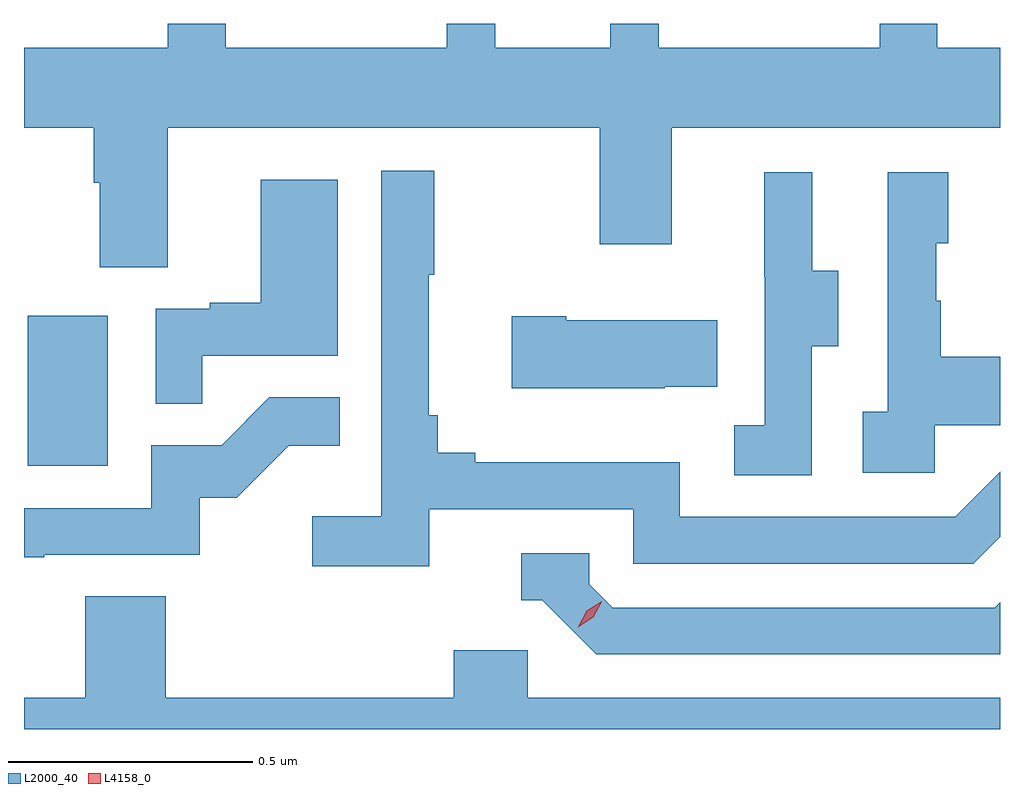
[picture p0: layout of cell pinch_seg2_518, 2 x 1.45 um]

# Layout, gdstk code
import gdstk
lib = gdstk.Library(unit=1e-6, precision=1e-09)
def R(c, l, rs):  # rectangles x0, y0, x1, y1
    for r in rs: c.add(gdstk.rectangle(r[:2], r[2:], *l))
def P(c, l, *ps):  # polygons
    for p in ps: c.add(gdstk.Polygon(p, *l))
L2000_40 = (2000, 40)
L4158_0 = (4158, 0)

pinch_seg2_518 = lib.new_cell('pinch_seg2_518')
R(pinch_seg2_518, L2000_40, [(1009.142,584.34,1009.306,584.647)])
P(pinch_seg2_518, L2000_40, [(1009.134,585.032),(1009.277,585.032),(1009.277,584.92),(1009.289,584.92),(1009.289,584.746),(1009.429,584.746),(1009.429,585.032),(1010.314,585.032),(1010.314,584.793),(1010.461,584.793),(1010.461,585.032),(1011.134,585.032),(1011.134,585.196),(1011.005,585.196),(1011.005,585.245),(1010.888,585.245),(1010.888,585.196),(1010.435,585.196),(1010.435,585.245),(1010.335,585.245),(1010.335,585.196),(1010.1,585.196),(1010.1,585.245),(1010,585.245),(1010,585.196),(1009.547,585.196),(1009.547,585.245),(1009.429,585.245),(1009.429,585.196),(1009.134,585.196)],
  [(1009.964,584.25),(1010.382,584.25),(1010.382,584.139),(1011.079,584.139),(1011.134,584.194),(1011.134,584.327),(1011.042,584.235),(1010.478,584.235),(1010.478,584.347),(1010.059,584.347),(1010.059,584.366),(1009.982,584.366),(1009.982,584.443),(1009.963,584.443),(1009.963,584.731),(1009.975,584.731),(1009.975,584.944),(1009.866,584.944),(1009.866,584.236),(1009.725,584.236),(1009.725,584.134),(1009.964,584.134)],
  [(1011,584.423),(1011.134,584.423),(1011.134,584.563),(1011.013,584.563),(1011.013,584.678),(1011.003,584.678),(1011.003,584.796),(1011.028,584.796),(1011.028,584.941),(1010.904,584.941),(1010.904,584.45),(1010.853,584.45),(1010.853,584.325),(1011,584.325)],
  [(1010.748,584.584),(1010.803,584.584),(1010.803,584.739),(1010.749,584.739),(1010.749,584.941),(1010.651,584.941),(1010.651,584.727),(1010.652,584.727),(1010.652,584.423),(1010.589,584.423),(1010.589,584.32),(1010.748,584.32)],
  [(1009.499,584.565),(1009.777,584.565),(1009.777,584.926),(1009.619,584.926),(1009.619,584.674),(1009.515,584.674),(1009.515,584.661),(1009.404,584.661),(1009.404,584.467),(1009.499,584.467)],
  [(1010.447,584.501),(1010.555,584.501),(1010.555,584.638),(1010.245,584.638),(1010.245,584.646),(1010.133,584.646),(1010.133,584.498),(1010.447,584.498)],
  [(1009.175,584.157),(1009.494,584.157),(1009.494,584.274),(1009.57,584.274),(1009.677,584.381),(1009.781,584.381),(1009.781,584.48),(1009.637,584.48),(1009.539,584.382),(1009.395,584.382),(1009.395,584.253),(1009.134,584.253),(1009.134,584.152),(1009.175,584.152)],
  [(1011.134,584.06),(1011.123,584.049),(1010.34,584.049),(1010.292,584.097),(1010.292,584.16),(1010.153,584.16),(1010.153,584.064),(1010.196,584.064),(1010.307,583.953),(1011.134,583.953)],
  [(1011.134,583.864),(1010.166,583.864),(1010.166,583.962),(1010.015,583.962),(1010.015,583.864),(1009.424,583.864),(1009.424,584.072),(1009.259,584.072),(1009.259,583.864),(1009.134,583.864),(1009.134,583.8),(1011.134,583.8)])
P(pinch_seg2_518, L4158_0, [(1010.27,584.009),(1010.27,584.01),(1010.287,584.042),(1010.318,584.062),(1010.318,584.062),(1010.318,584.061),(1010.301,584.029),(1010.27,584.009)])

lib.write_gds('pinch_seg2_518.gds')
